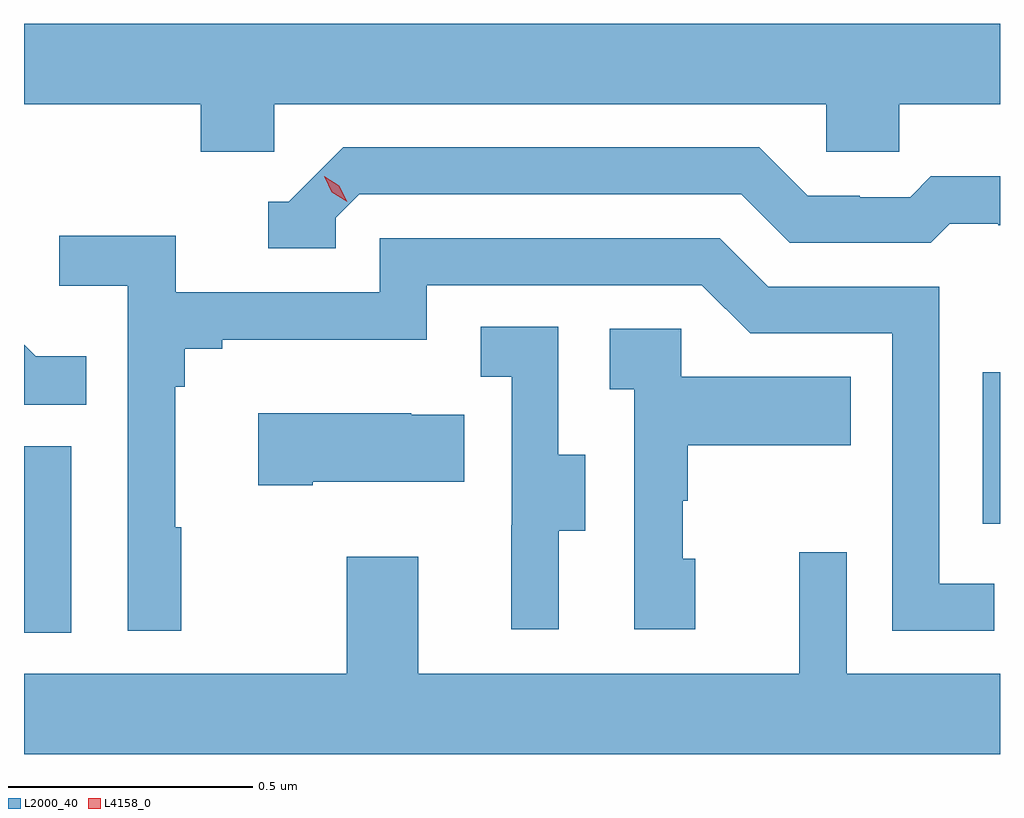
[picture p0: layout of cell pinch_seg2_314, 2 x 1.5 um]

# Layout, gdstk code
import gdstk
lib = gdstk.Library(unit=1e-6, precision=1e-09)
def R(c, l, rs):  # rectangles x0, y0, x1, y1
    for r in rs: c.add(gdstk.rectangle(r[:2], r[2:], *l))
def P(c, l, *ps):  # polygons
    for p in ps: c.add(gdstk.Polygon(p, *l))
L2000_40 = (2000, 40)
L4158_0 = (4158, 0)

pinch_seg2_314 = lib.new_cell('pinch_seg2_314')
R(pinch_seg2_314, L2000_40, [(890.883,633.233,890.98,633.615), (892.848,633.456,892.883,633.766)])
P(pinch_seg2_314, L2000_40, [(890.883,634.316),(891.245,634.316),(891.245,634.218),(891.396,634.218),(891.396,634.316),(892.527,634.316),(892.527,634.218),(892.677,634.218),(892.677,634.316),(892.883,634.316),(892.883,634.48),(890.883,634.48)],
  [(891.522,634.083),(891.57,634.131),(892.353,634.131),(892.452,634.032),(892.741,634.032),(892.78,634.071),(892.879,634.071),(892.879,634.068),(892.883,634.068),(892.883,634.168),(892.741,634.168),(892.699,634.125),(892.596,634.125),(892.596,634.128),(892.489,634.128),(892.39,634.227),(891.537,634.227),(891.426,634.116),(891.383,634.116),(891.383,634.02),(891.522,634.02)],
  [(891.205,633.449),(891.193,633.449),(891.193,633.737),(891.212,633.737),(891.212,633.814),(891.289,633.814),(891.289,633.833),(891.708,633.833),(891.708,633.945),(892.272,633.945),(892.371,633.846),(892.662,633.846),(892.662,633.237),(892.871,633.237),(892.871,633.333),(892.758,633.333),(892.758,633.942),(892.408,633.942),(892.309,634.041),(891.612,634.041),(891.612,633.93),(891.194,633.93),(891.194,634.046),(890.955,634.046),(890.955,633.944),(891.096,633.944),(891.096,633.237),(891.205,633.237)],
  [(891.979,633.442),(892.033,633.442),(892.033,633.597),(891.978,633.597),(891.978,633.86),(891.819,633.86),(891.819,633.757),(891.882,633.757),(891.882,633.453),(891.881,633.453),(891.881,633.24),(891.979,633.24)],
  [(892.258,633.384),(892.233,633.384),(892.233,633.503),(892.243,633.503),(892.243,633.617),(892.577,633.617),(892.577,633.757),(892.23,633.757),(892.23,633.855),(892.083,633.855),(892.083,633.731),(892.134,633.731),(892.134,633.24),(892.258,633.24)],
  [(891.011,633.799),(890.907,633.799),(890.883,633.823),(890.883,633.7),(891.011,633.7)],
  [(891.475,633.542),(891.785,633.542),(891.785,633.679),(891.677,633.679),(891.677,633.682),(891.363,633.682),(891.363,633.535),(891.475,633.535)],
  [(892.883,633.148),(892.569,633.148),(892.569,633.397),(892.472,633.397),(892.472,633.148),(891.691,633.148),(891.691,633.388),(891.544,633.388),(891.544,633.148),(890.883,633.148),(890.883,632.984),(892.883,632.984)])
P(pinch_seg2_314, L4158_0, [(891.545,634.116),(891.514,634.135),(891.498,634.168),(891.498,634.168),(891.498,634.168),(891.529,634.149),(891.545,634.116),(891.545,634.116)])

lib.write_gds('pinch_seg2_314.gds')
